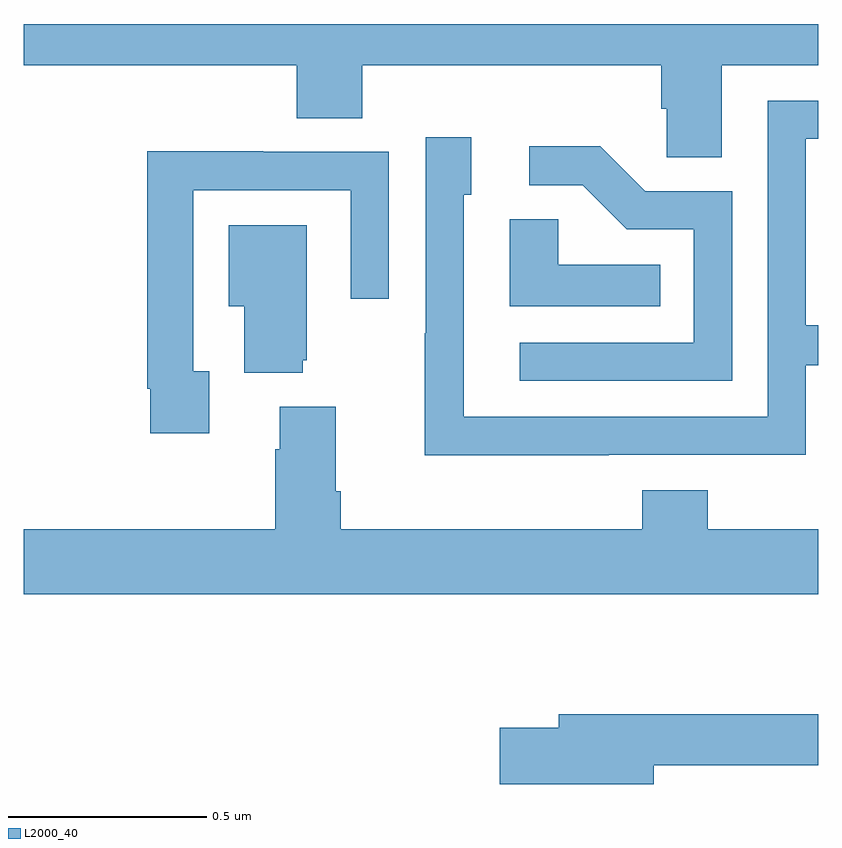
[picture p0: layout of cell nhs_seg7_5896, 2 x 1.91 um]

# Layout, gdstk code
import gdstk
lib = gdstk.Library(unit=1e-6, precision=1e-09)
def P(c, l, *ps):  # polygons
    for p in ps: c.add(gdstk.Polygon(p, *l))
L2000_40 = (2000, 40)

nhs_seg7_5896 = lib.new_cell('nhs_seg7_5896')
P(nhs_seg7_5896, L2000_40, [(192.757,1053.896),(193,1053.896),(193,1054),(191,1054),(191,1053.896),(191.687,1053.896),(191.687,1053.763),(191.852,1053.763),(191.852,1053.896),(192.605,1053.896),(192.605,1053.787),(192.618,1053.787),(192.618,1053.664),(192.757,1053.664)],
  [(192.473,1052.916),(192.969,1052.916),(192.969,1053.141),(193,1053.141),(193,1053.242),(192.969,1053.242),(192.969,1053.711),(193,1053.711),(193,1053.807),(192.873,1053.807),(192.873,1053.012),(192.108,1053.012),(192.108,1053.57),(192.127,1053.57),(192.127,1053.715),(192.012,1053.715),(192.012,1053.221),(192.01,1053.221),(192.01,1052.915),(192.473,1052.915)],
  [(192.783,1053.579),(192.564,1053.579),(192.451,1053.692),(192.273,1053.692),(192.273,1053.594),(192.407,1053.594),(192.518,1053.483),(192.687,1053.483),(192.687,1053.198),(192.249,1053.198),(192.249,1053.102),(192.783,1053.102)],
  [(191.467,1053.126),(191.427,1053.126),(191.427,1053.582),(191.823,1053.582),(191.823,1053.309),(191.919,1053.309),(191.919,1053.678),(191.603,1053.678),(191.603,1053.68),(191.311,1053.68),(191.311,1053.082),(191.319,1053.082),(191.319,1052.97),(191.467,1052.97)],
  [(192.602,1053.394),(192.345,1053.394),(192.345,1053.509),(192.224,1053.509),(192.224,1053.29),(192.602,1053.29)],
  [(191.702,1053.153),(191.713,1053.153),(191.713,1053.493),(191.516,1053.493),(191.516,1053.29),(191.555,1053.29),(191.555,1053.122),(191.702,1053.122)],
  [(193,1052.728),(192.722,1052.728),(192.722,1052.827),(192.557,1052.827),(192.557,1052.728),(191.798,1052.728),(191.798,1052.824),(191.785,1052.824),(191.785,1053.037),(191.645,1053.037),(191.645,1052.93),(191.633,1052.93),(191.633,1052.728),(191,1052.728),(191,1052.564),(193,1052.564)],
  [(192.586,1052.134),(193,1052.134),(193,1052.263),(192.347,1052.263),(192.347,1052.229),(192.198,1052.229),(192.198,1052.087),(192.586,1052.087)])

lib.write_gds('nhs_seg7_5896.gds')
